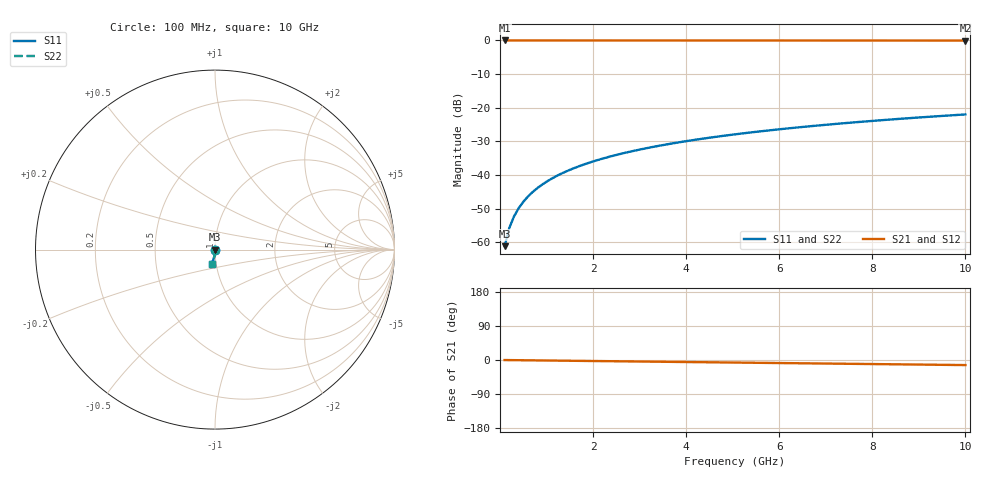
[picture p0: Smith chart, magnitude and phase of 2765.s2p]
# Hz S RI R 50.00
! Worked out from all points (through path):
!   100 points, 100 MHz to 10 GHz, reference 50 ohm
!   highest |S21| = 0.00 dB at 100 MHz (marker M1); lowest = 0.0 dB at 10 GHz (marker M2)
!   group delay of S21, straight-line fit = 3.72 ps
!   lowest |S11| = -61.1 dB at 100 MHz (marker M3), VSWR 1.00, Z = 50 - j0.0797 ohm
!   |S11| at or under -10 dB: start of sweep to end of sweep
!   |S22| runs from -61.1 to -22.0 dB; largest |S21 - S12| = 0
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1e8  0.000373 -0.000797  0.9996 -0.00232  0.9996 -0.00232  0.000373 -0.000797
2e8  0.000368 -0.00159  0.9996 -0.00464  0.9996 -0.00464  0.000368 -0.00159
3e8  0.00036 -0.00239  0.9996 -0.00696  0.9996 -0.00696  0.00036 -0.00239
4e8  0.000347 -0.00319  0.9996 -0.00929  0.9996 -0.00929  0.000347 -0.00319
5e8  0.00033 -0.00398  0.9995 -0.0116  0.9995 -0.0116  0.00033 -0.00398
6e8  0.000309 -0.00478  0.9995 -0.0139  0.9995 -0.0139  0.000309 -0.00478
7e8  0.000285 -0.00558  0.9995 -0.0163  0.9995 -0.0163  0.000285 -0.00558
8e8  0.000256 -0.00637  0.9994 -0.0186  0.9994 -0.0186  0.000256 -0.00637
9e8  0.000224 -0.00717  0.9994 -0.0209  0.9994 -0.0209  0.000224 -0.00717
1.1e9  0.000149 -0.00877  0.9992 -0.0255  0.9992 -0.0255  0.000149 -0.00877
1.4e9  8.03e-06 -0.0112  0.999 -0.0325  0.999 -0.0325  8.03e-06 -0.0112
1.8e9  -0.000232 -0.0143  0.9986 -0.0418  0.9986 -0.0418  -0.000232 -0.0143
2.1e9  -0.000452 -0.0167  0.9982 -0.0488  0.9982 -0.0488  -0.000452 -0.0167
2.5e9  -0.000797 -0.0199  0.9977 -0.0581  0.9977 -0.0581  -0.000797 -0.0199
2.9e9  -0.0012 -0.0231  0.997 -0.0673  0.997 -0.0673  -0.0012 -0.0231
3.4e9  -0.00179 -0.0271  0.9961 -0.079  0.9961 -0.079  -0.00179 -0.0271
4.2e9  -0.00293 -0.0334  0.9942 -0.0975  0.9942 -0.0975  -0.00293 -0.0334
5.1e9  -0.00449 -0.0404  0.9916 -0.1184  0.9916 -0.1184  -0.00449 -0.0404
5.9e9  -0.00613 -0.0467  0.989 -0.1369  0.989 -0.1369  -0.00613 -0.0467
6.7e9  -0.008 -0.0529  0.9859 -0.1553  0.9859 -0.1553  -0.008 -0.0529
8.4e9  -0.0128 -0.0657  0.9781 -0.1944  0.9781 -0.1944  -0.0128 -0.0657
1e10  -0.0182 -0.0775  0.9691 -0.2309  0.9691 -0.2309  -0.0182 -0.0775
